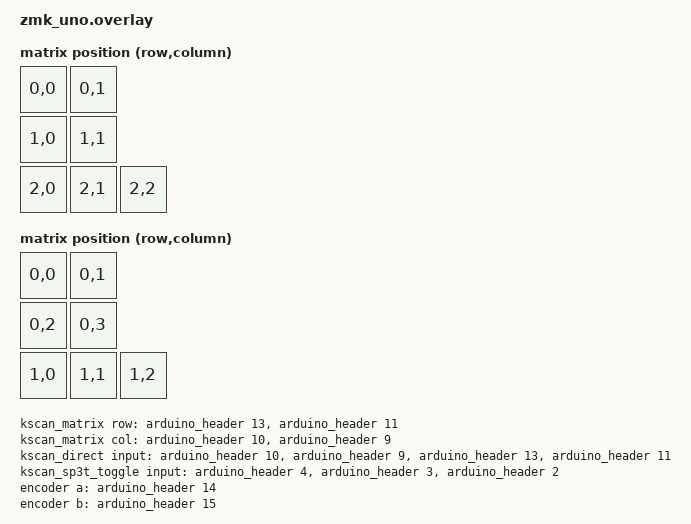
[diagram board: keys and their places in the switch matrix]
/*
 * Copyright (c) 2022 The ZMK Contributors
 *
 * SPDX-License-Identifier: MIT
 */

#include <dt-bindings/led/led.h>
#include <dt-bindings/zmk/matrix_transform.h>

&arduino_i2c {
    status = "okay";

    oled: ssd1306@3c {
        compatible = "solomon,ssd1306fb";
        reg = <0x3c>;
        label = "DISPLAY";
        width = <128>;
        height = <64>;
        segment-offset = <0>;
        page-offset = <0>;
        display-offset = <0>;
        multiplex-ratio = <63>;
        prechargep = <0x22>;

        power-domain = <&core_power_domain>;
        zephyr,pm-device-runtime-auto;
    };
};

&arduino_spi {
    status = "okay";

    led_strip: ws2812@0 {
        compatible = "worldsemi,ws2812-spi";

        /* SPI */
        reg = <0>; /* ignored, but necessary for SPI bindings */
        spi-max-frequency = <4000000>;

        /* WS2812 */
        chain-length = <7>; /* 4 underglow + 3 per-key LEDs */
        spi-one-frame = <0x70>;
        spi-zero-frame = <0x40>;

        color-mapping = <LED_COLOR_ID_GREEN LED_COLOR_ID_RED LED_COLOR_ID_BLUE>;

        power-domain = <&rgb_power>;
        zephyr,pm-device-runtime-auto;
    };
};

/ {
    chosen {
        zmk,kscan = &kscan_matrix_comp;
        zmk,backlight = &backlight;
        zmk,underglow = &led_strip;
        zmk,matrix-transform = &matrix_transform;
        zephyr,display = &oled;
    };

    core_power_domain: core_power_domain {
        compatible = "power-domain-gpio";
        startup-delay-us = <2000>;
        off-on-delay-us = <2000>;
        enable-gpios = <&arduino_header 0 GPIO_ACTIVE_LOW>;
        zephyr,pm-device-runtime-auto;
    };

    rgb_power: rgb_power {
        compatible = "power-domain-gpio";
        startup-delay-us = <200>;
        off-on-delay-us = <2000>;
        enable-gpios = <&arduino_header 1 GPIO_ACTIVE_LOW>;
        power-domain = <&core_power_domain>;
        zephyr,pm-device-runtime-auto;
    };

    backlight: gpioleds {
        compatible = "gpio-leds";
        label = "Backlight LEDs";
        gpio_led_0 {
            gpios = <&arduino_header 12 GPIO_ACTIVE_HIGH>;
            label = "Backlight LED 0";
        };
    };

    matrix_transform: matrix_transform {
        compatible = "zmk,matrix-transform";
        rows = <3>;
        columns = <4>;

        map = <
        RC(0,0) RC(0,1)
        RC(1,0) RC(1,1)
        RC(2,0) RC(2,1) RC(2,2)
        >;
    };

    direct_matrix_transform: direct_matrix_transform {
        compatible = "zmk,matrix-transform";
        rows = <3>;
        columns = <4>;

        map = <
        RC(0,0) RC(0,1)
        RC(0,2) RC(0,3)
        RC(1,0) RC(1,1) RC(1,2)
        >;
    };

    kscan_matrix_comp: kscan_matrix_comp {
        compatible = "zmk,kscan-composite";
        rows = <1>;
        columns = <7>;

        label = "KSCAN_MATRIX_COMP";

        matrix {
            kscan = <&kscan_matrix>;
        };

        toggle {
            kscan = <&kscan_sp3t_toggle>;
            row-offset = <2>;
        };

    };

    kscan_direct_comp: kscan_direct_comp {
        compatible = "zmk,kscan-composite";

        label = "KSCAN_DIRECT_COMP";
        status = "disabled";

        matrix {
            kscan = <&kscan_direct>;
        };

        toggle {
            kscan = <&kscan_sp3t_toggle>;
            row-offset = <1>;
        };

    };

    kscan_matrix: kscan_matrix {
        compatible = "zmk,kscan-gpio-matrix";

        diode-direction = "col2row";

        col-gpios
        = <&arduino_header 10 GPIO_ACTIVE_HIGH>
        , <&arduino_header 9  GPIO_ACTIVE_HIGH>
        ;

        row-gpios
        = <&arduino_header 13 (GPIO_ACTIVE_HIGH | GPIO_PULL_DOWN)>
        , <&arduino_header 11 (GPIO_ACTIVE_HIGH | GPIO_PULL_DOWN)>
        ;

    };

    kscan_direct: kscan_direct {
        compatible = "zmk,kscan-gpio-direct";
        status = "disabled";

        input-gpios
        = <&arduino_header 10 (GPIO_ACTIVE_LOW | GPIO_PULL_UP)>
        , <&arduino_header 9  (GPIO_ACTIVE_LOW | GPIO_PULL_UP)>
        , <&arduino_header 13 (GPIO_ACTIVE_LOW | GPIO_PULL_UP)>
        , <&arduino_header 11 (GPIO_ACTIVE_LOW | GPIO_PULL_UP)>
        ;

    };

    kscan_sp3t_toggle: kscan_sp3t_toggle {
        compatible = "zmk,kscan-gpio-direct";
        toggle-mode;

        input-gpios
        = <&arduino_header 4 (GPIO_ACTIVE_LOW | GPIO_PULL_UP)>
        , <&arduino_header 3 (GPIO_ACTIVE_LOW | GPIO_PULL_UP)>
        , <&arduino_header 2 (GPIO_ACTIVE_LOW | GPIO_PULL_UP)>
        ;
    };

    encoder: encoder {
        label = "ENCODER";
        resolution = <4>;
        compatible = "alps,ec11";
        a-gpios = <&arduino_header 14 GPIO_PULL_UP>;
        b-gpios = <&arduino_header 15 GPIO_PULL_UP>;
    };

    sensors {
        compatible = "zmk,keymap-sensors";
        sensors = <&encoder>;
    };

};
